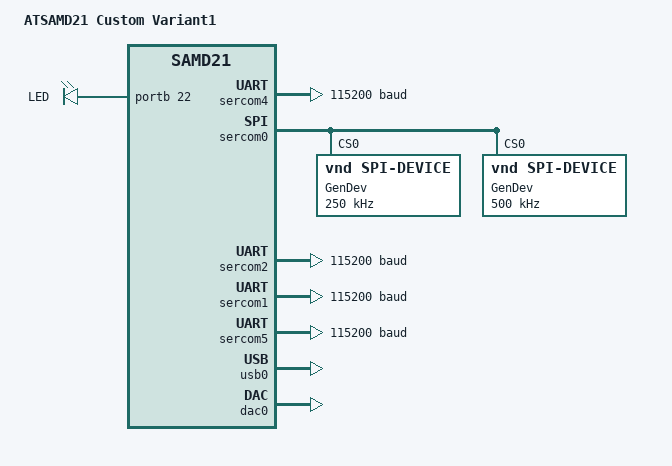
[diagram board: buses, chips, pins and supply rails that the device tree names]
/*
* Copyright (c) 2020 Google LLC.
*
* SPDX-License-Identifier: Apache-2.0
*/

/dts-v1/;
#include <atmel/samd21.dtsi>
#include <atmel/samx2xx18.dtsi>
#include "atsamd21_custom_variant1-pinctrl.dtsi"
#include "atsamd21_custom_variant1_connector.dtsi"

/ {
	model = "ATSAMD21 Custom Variant1";
	compatible = "samd21,samd21_custom_variant1", "atmel,samd21j18a", "atmel,samd21";

	chosen {
		zephyr,console = &sercom4;
		zephyr,shell-uart = &sercom4;
		zephyr,sram = &sram0;
		zephyr,flash = &flash0;
		zephyr,code-partition = &code_partition;
	};

	/* Define the inboard leds */
	leds {
		compatible = "gpio-leds";
		led: led_0 {
			gpios = <&portb 22 GPIO_ACTIVE_HIGH>;
			label = "LED";
		};
	};

	/* Define the RS-485 enable GPIOs */
	rs485_en {
		compatible = "gpio-rs485-en";
		rs485_en_1: rs485_en_1 {
			gpios = <&porta 10 GPIO_ACTIVE_HIGH>;
			label = "RS485_EN_1";
		};
		rs485_en_2: rs485_en_2 {
			gpios = <&porta 13 GPIO_ACTIVE_HIGH>;
			label = "RS485_EN_2";
		};
		rs485_en_3: rs485_en_3 {
			gpios = <&porta 12 GPIO_ACTIVE_HIGH>;
			label = "RS485_EN_3";
		};
	};

	/* Define the SPI CS pin */
	spi_cs {
		compatible = "gpio-generic";
		spi_cs: spi_cs {
			gpios = <&porta 4 GPIO_ACTIVE_HIGH>;
			label = "SPI_CS";
		};
	};

	/* Define generic io pin */
	generic_io {
		compatible = "gpio-generic";
		generic_io_1: generic_io_1 {
			gpios = <&porta 14 GPIO_ACTIVE_HIGH>;
			label = "GENERIC_IO";
		};

		reset_line: reset_line {
			gpios = <&porta 8 GPIO_ACTIVE_HIGH>;
			label = "GENERIC_IO";
		};

		snx4hx595_clock: snx4hx595_clock {
			gpios = <&porta 9 GPIO_ACTIVE_HIGH>;
			label = "GENERIC_IO";
		};

		ad654_fout: ad654_fout {
			gpios = <&porta 16 GPIO_ACTIVE_HIGH>;
			label = "GENERIC_IO";
		};
	};

	relays_shift_register {
		compatible = "gpio-generic";
		/* Define control pins for the TPIC6B595DWR */
		mic584x_clock: mic584x_clock {
			gpios = <&porta 13 GPIO_ACTIVE_HIGH>;
			label = "CLOCK";
		};
		mic584x_strobe: mic584x_strobe {
			gpios = <&porta 10 GPIO_ACTIVE_HIGH>;
			label = "STROBE";
		};
		mic584x_serout: mic584x_serout {
			gpios = <&porta 17 GPIO_ACTIVE_HIGH>;
			label = "SEROUT";
		};
	};

	aliases {
		led0 = &led;
		rs485-uart-1 = &sercom2;
		rs485-uart-2 = &sercom1;
		rs485-uart-3 = &sercom5;
	};
};

&cpu0 {
	clock-frequency = <48000000>;
};

&sercom4 {
	status = "okay";
	compatible = "atmel,sam0-uart";
	current-speed = <115200>;
	rxpo = <1>;
	txpo = <0>;

	pinctrl-0 = <&sercom4_uart_default>;
	pinctrl-names = "default";
};

&sercom0 {
	status = "okay";
	compatible = "atmel,sam0-spi";
	dipo = <1>;
	dopo = <1>;
	#address-cells = <1>;
	#size-cells = <0>;

	pinctrl-0 = <&sercom0_spi_default>;
	pinctrl-names = "default";

	// cs-gpios = <&porta 4 GPIO_ACTIVE_LOW>;

	pic16c63: spi-device@0 {
		status = "okay";
		compatible = "vnd,spi-device";
		reg = <0>;
		spi-max-frequency = <250000>;
		label = "GenDev";
	};

	snx4hx595: spi-device@1 {
		status = "okay";
		compatible = "vnd,spi-device";
		reg = <0>;
		spi-max-frequency = <500000>;
		label = "GenDev";
	};
};

&sercom2 {
	status = "okay";
	compatible = "atmel,sam0-uart";
	current-speed = <115200>;
	rxpo = <1>;
	txpo = <0>;

	pinctrl-0 = <&sercom2_rs485_default>;
	pinctrl-names = "default";
};

&sercom1 {
	status = "okay";
	compatible = "atmel,sam0-uart";
	current-speed = <115200>;
	rxpo = <1>;
	txpo = <0>;

	pinctrl-0 = <&sercom1_rs485_default>;
	pinctrl-names = "default";
};

&sercom5 {
	status = "okay";
	compatible = "atmel,sam0-uart";
	current-speed = <115200>;
	rxpo = <1>;
	txpo = <0>;

	pinctrl-0 = <&sercom5_rs485_default>;
	pinctrl-names = "default";
};

zephyr_udc0: &usb0 {
	status = "okay";

	pinctrl-0 = <&usb_dc_default>;
	pinctrl-names = "default";
};

&dac0 {
	status = "okay";

	pinctrl-0 = <&dac_default>;
	pinctrl-names = "default";
};

&flash0 {
	partitions {
		compatible = "fixed-partitions";
		#address-cells = <1>;
		#size-cells = <1>;

		code_partition: partition@0 {
			label = "code";
			reg = <0x00000000 DT_SIZE_K(240)>; /* Full flash minus storage */
		};

		storage_partition: partition@3c000 {
			label = "storage";
			reg = <0x0003c000 DT_SIZE_K(16)>;
		};
	};
};
